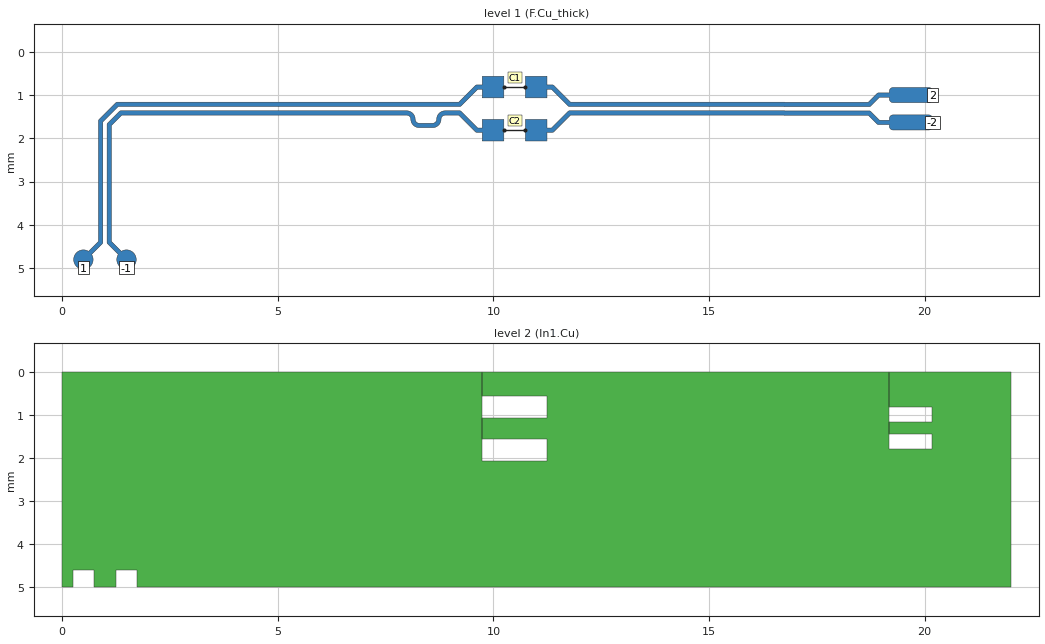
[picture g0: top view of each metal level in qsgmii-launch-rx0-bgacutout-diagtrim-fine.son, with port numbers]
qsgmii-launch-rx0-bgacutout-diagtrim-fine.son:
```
FTYP SONPROJ 19 ! Sonnet Project File
VER 18.56
HEADER
LIC antikernel2.1.65565
DAT 12/19/2024 21:17:55
BUILT_BY_CREATED xgeom 18.52 11/18/2021 20:28:07
BUILT_BY_SAVED sonnet 18.56
MDATE 12/19/2024 21:17:55
HDATE 12/19/2024 21:17:55
ANN Created by dxfgeo, Sonnet Software Inc.
END HEADER
DIM
ANG DEG
CAP PF
CON /OH
FREQ GHZ
IND NH
LNG MM
RES OH
END DIM
CONTROL
VARSWP
OPTIONS  -dj
SPEED 1
CACHE_ABS 2
Q_ACC N
END CONTROL
GEO
TMET "Free Space" 0 FREESPACE 376.7303136 0 0 0
BMET "Free Space" 0 FREESPACE 376.7303136 0 0 0
MET "Copper_1oz_thin" 1 NOR 58000000 0.5 0.035 
MET "Copper_1oz_thick" 2 TMM 58000000 0.5 0.035 2
MET "Copper_1oz_thick_down" 3 TMM 58000000 0.5 0.035 2 CDVY TDWN
MET "Copper_0.5oz_thin" 4 NOR 58000000 0.5 0.017 
MET "Copper_0.5oz_thick" 12 TMM 58000000 0.5 0.017 2
MET "Copper_0.5oz_thick_down" 5 TMM 58000000 0.5 0.017 2 CDVY TDWN
BOX 8 22 5 4400 1000 20 0
      5 1 1 0 0 0 0 "Air"
      0.04 3.5 1 0.025 0 0 0 "Soldermask"
      0.076 4.49 1 0.016 0 0 0 "Shengyi_S1000-2M"
      0.1 4.49 1 0.016 0 0 0 "Shengyi_S1000-2M"
      1.038 4.49 1 0.016 0 0 0 "Shengyi_S1000-2M"
      0.1 4.49 1 0.016 0 0 0 "Shengyi_S1000-2M"
      0.076 4.49 1 0.016 0 0 0 "Shengyi_S1000-2M"
      0.04 3.5 1 0.025 0 0 0 "Soldermask"
      5 1 1 0 0 0 0 "Air"
TECHLAY METAL F.Cu_thick L1D0 -2 -65534 CAD F.Cu_thick drawing 
1 0 1 N 1683 1 1 100 100 0 0 0 Y
END
END
TECHLAY METAL F.Cu_thin <UNSPECIFIED> -1 -65534 CAD F.Cu_thin drawing 
1 0 0 N 1691 1 1 100 100 0 0 0 Y
END
END
TECHLAY VIA Via1 L7D0 -13 -65534 CAD Via1 drawing 
VIA POLYGON
1 0 -1 N 1693 1 1 100 100 0 0 0 Y
TOLEVEL 6 RING NOCOVERS
END
END
TECHLAY METAL In1.Cu L2D0 -3 -65534 CAD In1.Cu drawing 
2 0 0 N 1700 1 1 100 100 0 0 0 Y
END
END
TECHLAY METAL In2.Cu_thin L3D0 -4 -65534 CAD In2.Cu drawing 
3 0 3 N 1703 1 1 100 100 0 0 0 Y
END
END
TECHLAY METAL In2.Cu_thick <UNSPECIFIED> -5 -65534 CAD In2.Cu_thick drawing 
3 0 4 N 1705 1 1 100 100 0 0 0 Y
END
END
TECHLAY METAL In3.Cu_thin L4D0 -8 -65534 CAD In5.Cu drawing 
4 0 3 N 1708 1 1 100 100 0 0 0 Y
END
END
TECHLAY METAL In4.Cu L5D0 -10 -65534 CAD In6.Cu drawing 
5 0 0 N 1711 1 1 100 100 0 0 0 Y
END
END
TECHLAY METAL B.Cu_thick L6D0 -12 -65534 CAD B.Cu_thick drawing 
6 0 2 N 1714 1 1 100 100 0 0 0 Y
END
END
TECHLAY METAL B.Cu_thin <UNSPECIFIED> -11 -65534 CAD B.Cu_thin drawing 
6 0 0 N 1716 1 1 100 100 0 0 0 Y
END
END
TECHLAY METAL In3.Cu_thick <UNSPECIFIED> -9 -65534 CAD In5.Cu_thick drawing 
8 0 5 N 1720 1 1 100 100 0 0 0 Y
END
END
LORGN 0 5 U 
POR1 BOX
POLY 1533 1
285
-1 100 0 0 0 1.49 5 
POR1 BOX
POLY 1534 1
90
1 100 0 0 0 0.49 5 
POR1 CUP Auto
GNDREF AUTO
TERMW FEED
POLY 1730 1
45
-2 100 0 0 0 20.18 1.629 
CUPGRP "Auto" LOCAL
ID 1687
END
POR1 CUP Auto
GNDREF AUTO
TERMW FEED
POLY 1731 1
34
2 100 0 0 0 20.18 0.994 
CUPGRP "Auto" LOCAL
ID 1685
END
SMD 1 "C1"
ID 1563
GNDREF FLOAT
DRP1 LEFT NONE 1
DRP1 RIGHT NONE 1
SBOX 10.365 10.615 0.7715 0.8465
PBSHW N
LPOS 10.49 0.7715
TYPE IDEAL CAP 100000
SMDP 1 10.24 0.809 L 3 1 
EXSMDP
GNDREF FLOAT
TERMW FEED
END EXSMDP
SMDP 1 10.74 0.809 R 4 2 
EXSMDP
GNDREF FLOAT
TERMW FEED
END EXSMDP
END
SMD 1 "C2"
ID 1568
GNDREF FLOAT
DRP1 RIGHT NONE 1
DRP1 LEFT NONE 1
SBOX 10.365 10.615 1.7715 1.8465
PBSHW N
LPOS 10.49 1.7715
TYPE IDEAL CAP 100000
SMDP 1 10.24 1.809 L 5 1 
EXSMDP
GNDREF FLOAT
TERMW FEED
END EXSMDP
SMDP 1 10.74 1.809 R 6 2 
EXSMDP
GNDREF FLOAT
TERMW FEED
END EXSMDP
END
NUM 5
1 288 1 N 1533 1 1 100 100 0 0 0 Y
TLAYNAM F.Cu_thick INH
1.624 4.99
1.641 4.976
1.657 4.96
1.671 4.943
1.683 4.925
1.693 4.905
1.702 4.885
1.708 4.864
1.713 4.842
1.715 4.82
1.715 4.798
1.713 4.776
1.708 4.754
1.702 4.733
1.693 4.713
1.683 4.693
1.671 4.675
1.657 4.658
1.641 4.642
1.624 4.628
1.606 4.616
1.586 4.606
1.566 4.597
1.545 4.591
1.523 4.586
1.501 4.584
1.479 4.584
1.457 4.586
1.435 4.591
1.414 4.597
1.394 4.606
1.37 4.618
1.14 4.388
1.14 1.7
1.381 1.459
7.996 1.459
8 1.46
8.018 1.465
8.038 1.474
8.041 1.475
8.047 1.48
8.061 1.494
8.07 1.507
8.078 1.524
8.081 1.538
8.083 1.556
8.083 1.563
8.084 1.566
8.085 1.58
8.085 1.586
8.086 1.591
8.088 1.595
8.089 1.596
8.09 1.6
8.092 1.609
8.093 1.614
8.094 1.618
8.094 1.619
8.096 1.624
8.099 1.63
8.104 1.639
8.105 1.643
8.11 1.653
8.11 1.654
8.111 1.655
8.114 1.659
8.124 1.673
8.127 1.678
8.129 1.679
8.13 1.681
8.151 1.702
8.159 1.708
8.16 1.708
8.171 1.716
8.175 1.719
8.178 1.722
8.183 1.725
8.21 1.737
8.215 1.739
8.219 1.74
8.224 1.741
8.236 1.744
8.242 1.746
8.247 1.747
8.257 1.747
8.266 1.748
8.271 1.749
8.595 1.749
8.597 1.748
8.614 1.748
8.618 1.747
8.62 1.747
8.625 1.746
8.626 1.746
8.647 1.74
8.651 1.739
8.653 1.739
8.658 1.737
8.662 1.735
8.665 1.733
8.683 1.724
8.688 1.722
8.692 1.719
8.693 1.718
8.707 1.708
8.712 1.705
8.713 1.703
8.715 1.702
8.715 1.701
8.719 1.698
8.722 1.694
8.728 1.689
8.732 1.686
8.736 1.682
8.739 1.678
8.756 1.654
8.759 1.649
8.761 1.645
8.762 1.642
8.766 1.632
8.768 1.628
8.77 1.623
8.772 1.619
8.78 1.59
8.781 1.585
8.781 1.575
8.782 1.566
8.783 1.562
8.783 1.556
8.785 1.536
8.791 1.516
8.796 1.506
8.814 1.485
8.824 1.476
8.842 1.467
8.86 1.461
8.885 1.459
9.194 1.459
9.581 1.846
9.589 1.852
9.594 1.854
9.598 1.856
9.603 1.858
9.608 1.859
9.74 1.859
9.74 2.059
10.24 2.059
10.24 1.559
9.74 1.559
9.74 1.759
9.636 1.759
9.249 1.372
9.241 1.366
9.236 1.364
9.232 1.362
9.227 1.36
9.222 1.359
8.871 1.359
8.867 1.36
8.866 1.36
8.843 1.362
8.842 1.362
8.838 1.363
8.816 1.37
8.815 1.37
8.811 1.371
8.801 1.375
8.795 1.378
8.781 1.386
8.777 1.388
8.772 1.39
8.764 1.396
8.764 1.397
8.742 1.414
8.739 1.417
8.733 1.425
8.733 1.426
8.725 1.436
8.723 1.437
8.72 1.44
8.714 1.448
8.698 1.478
8.696 1.482
8.694 1.491
8.694 1.492
8.689 1.509
8.687 1.514
8.686 1.519
8.684 1.542
8.684 1.543
8.683 1.547
8.683 1.552
8.681 1.57
8.678 1.586
8.67 1.602
8.665 1.61
8.647 1.628
8.634 1.637
8.616 1.645
8.614 1.646
8.611 1.647
8.608 1.647
8.595 1.649
8.285 1.649
8.262 1.647
8.244 1.643
8.237 1.64
8.236 1.639
8.218 1.627
8.204 1.613
8.196 1.602
8.189 1.585
8.184 1.568
8.183 1.557
8.183 1.552
8.181 1.532
8.181 1.523
8.18 1.518
8.172 1.489
8.17 1.485
8.168 1.48
8.166 1.476
8.165 1.475
8.162 1.467
8.161 1.464
8.159 1.46
8.156 1.455
8.155 1.454
8.142 1.436
8.142 1.435
8.136 1.427
8.115 1.406
8.113 1.405
8.112 1.403
8.087 1.386
8.083 1.384
8.073 1.38
8.072 1.38
8.063 1.375
8.057 1.372
8.052 1.37
8.051 1.37
8.047 1.369
8.042 1.368
8.034 1.366
8.032 1.365
8.029 1.364
8.025 1.362
8.02 1.361
8.013 1.361
8 1.36
7.997 1.359
1.352 1.359
1.348 1.36
1.338 1.364
1.334 1.366
1.326 1.372
1.053 1.645
1.047 1.653
1.045 1.657
1.041 1.667
1.04 1.672
1.04 4.417
1.041 4.421
1.043 4.426
1.045 4.43
1.045 4.431
1.047 4.435
1.053 4.443
1.299 4.689
1.287 4.713
1.278 4.733
1.272 4.754
1.267 4.776
1.265 4.798
1.265 4.82
1.267 4.842
1.272 4.864
1.278 4.885
1.287 4.905
1.297 4.925
1.309 4.943
1.323 4.96
1.339 4.976
1.356 4.99
1.371 5
1.609 5
1.624 4.99
END
1 93 1 N 1534 1 1 100 100 0 0 0 Y
TLAYNAM F.Cu_thick INH
0.624 4.99
0.641 4.976
0.657 4.96
0.671 4.943
0.683 4.925
0.693 4.905
0.702 4.885
0.708 4.864
0.713 4.842
0.715 4.82
0.715 4.798
0.713 4.776
0.708 4.754
0.702 4.733
0.693 4.713
0.681 4.689
0.927 4.443
0.933 4.435
0.935 4.43
0.937 4.426
0.939 4.421
0.94 4.416
0.94 1.617
1.298 1.259
9.223 1.259
9.227 1.258
9.232 1.256
9.236 1.254
9.237 1.254
9.241 1.252
9.249 1.246
9.636 0.859
9.74 0.859
9.74 1.059
10.24 1.059
10.24 0.559
9.74 0.559
9.74 0.759
9.608 0.759
9.603 0.76
9.598 0.762
9.594 0.764
9.589 0.766
9.581 0.772
9.194 1.159
1.27 1.159
1.265 1.16
1.255 1.164
1.251 1.166
1.243 1.172
0.853 1.562
0.847 1.57
0.845 1.574
0.845 1.575
0.843 1.579
0.841 1.584
0.84 1.588
0.84 4.388
0.61 4.618
0.586 4.606
0.566 4.597
0.545 4.591
0.523 4.586
0.501 4.584
0.479 4.584
0.457 4.586
0.435 4.591
0.414 4.597
0.394 4.606
0.374 4.616
0.356 4.628
0.339 4.642
0.323 4.658
0.309 4.675
0.297 4.693
0.287 4.713
0.278 4.733
0.272 4.754
0.267 4.776
0.265 4.798
0.265 4.82
0.267 4.842
0.272 4.864
0.278 4.885
0.287 4.905
0.297 4.925
0.309 4.943
0.323 4.96
0.339 4.976
0.356 4.99
0.371 5
0.609 5
0.624 4.99
END
1 100 1 N 1730 1 1 100 100 0 0 0 Y
TLAYNAM F.Cu_thick INH
11.24 1.859
11.372 1.859
11.377 1.858
11.382 1.856
11.386 1.854
11.391 1.852
11.399 1.846
11.786 1.459
16.74 1.459
16.74 1.462
18.692 1.462
18.896 1.666
18.904 1.672
18.909 1.674
18.913 1.676
18.918 1.678
18.923 1.679
19.18 1.679
19.18 1.721
19.181 1.729
19.183 1.738
19.185 1.746
19.188 1.754
19.192 1.761
19.197 1.769
19.215 1.787
19.223 1.792
19.23 1.796
19.238 1.799
19.246 1.801
19.255 1.803
19.263 1.804
20.097 1.804
20.105 1.803
20.114 1.801
20.122 1.799
20.13 1.796
20.137 1.792
20.145 1.787
20.163 1.769
20.168 1.761
20.172 1.754
20.175 1.746
20.177 1.738
20.179 1.729
20.18 1.721
20.18 1.537
20.179 1.529
20.177 1.52
20.175 1.512
20.172 1.504
20.168 1.497
20.163 1.489
20.145 1.471
20.137 1.466
20.13 1.462
20.122 1.459
20.114 1.457
20.105 1.455
20.097 1.454
19.263 1.454
19.255 1.455
19.246 1.457
19.238 1.459
19.23 1.462
19.223 1.466
19.215 1.471
19.197 1.489
19.192 1.497
19.188 1.504
19.185 1.512
19.183 1.52
19.181 1.529
19.18 1.537
19.18 1.579
18.951 1.579
18.746 1.374
18.742 1.371
18.738 1.369
18.734 1.366
18.729 1.364
18.725 1.363
18.715 1.361
18.71 1.361
18.705 1.362
16.75 1.362
16.75 1.359
11.758 1.359
11.753 1.36
11.748 1.362
11.744 1.364
11.739 1.366
11.731 1.372
11.344 1.759
11.24 1.759
11.24 1.559
10.74 1.559
10.74 2.059
11.24 2.059
11.24 1.859
END
1 98 1 N 1731 1 1 100 100 0 0 0 Y
TLAYNAM F.Cu_thick INH
18.724 1.261
18.734 1.257
18.735 1.256
18.738 1.255
18.746 1.249
18.951 1.044
19.18 1.044
19.18 1.086
19.181 1.094
19.183 1.103
19.185 1.111
19.188 1.119
19.192 1.126
19.197 1.134
19.215 1.152
19.223 1.157
19.23 1.161
19.238 1.164
19.246 1.166
19.255 1.168
19.263 1.169
20.097 1.169
20.105 1.168
20.114 1.166
20.122 1.164
20.13 1.161
20.137 1.157
20.145 1.152
20.163 1.134
20.168 1.126
20.172 1.119
20.175 1.111
20.177 1.103
20.179 1.094
20.18 1.086
20.18 0.902
20.179 0.894
20.177 0.885
20.175 0.877
20.172 0.869
20.168 0.862
20.163 0.854
20.145 0.836
20.137 0.831
20.13 0.827
20.122 0.824
20.114 0.822
20.105 0.82
20.097 0.819
19.263 0.819
19.255 0.82
19.246 0.822
19.238 0.824
19.23 0.827
19.223 0.831
19.215 0.836
19.197 0.854
19.192 0.862
19.188 0.869
19.185 0.877
19.183 0.885
19.181 0.894
19.18 0.902
19.18 0.944
18.923 0.944
18.918 0.945
18.913 0.947
18.909 0.949
18.904 0.951
18.896 0.957
18.691 1.162
16.75 1.162
16.75 1.159
11.786 1.159
11.399 0.772
11.391 0.766
11.386 0.764
11.382 0.762
11.377 0.76
11.372 0.759
11.24 0.759
11.24 0.559
10.74 0.559
10.74 1.059
11.24 1.059
11.24 0.859
11.344 0.859
11.724 1.239
11.727 1.243
11.739 1.252
11.743 1.254
11.748 1.256
11.752 1.258
11.757 1.259
16.74 1.259
16.74 1.262
18.719 1.262
18.724 1.261
END
2 41 0 N 1737 1 1 100 100 0 0 0 Y
TLAYNAM In1.Cu INH
22 0
19.18 0
19.18 0.82
20.17 0.82
20.17 1.169
19.18 1.169
19.18 1.45
20.17 1.45
20.17 1.799
19.18 1.799
19.18 1.45
19.18 1.169
19.18 1.169
19.18 0.82
19.18 0
9.74 0
9.74 0.559
11.24 0.559
11.24 1.059
9.74 1.059
9.74 1.559
11.24 1.559
11.24 2.059
9.74 2.059
9.74 1.559
9.74 1.059
9.74 1.059
9.74 0.559
9.74 0
0 0
0 5
0.25 5
0.25 4.584
0.725 4.584
0.725 5
1.25 5
1.25 4.584
1.725 4.584
1.725 5
22 5
22 0
END
END GEO
OPT
MAX 100
END OPT
VARSWP
ENABLED Y
FREQ Y AY ABS_ENTRY 0.01 20.0 -1 300 
END
END VARSWP
```
